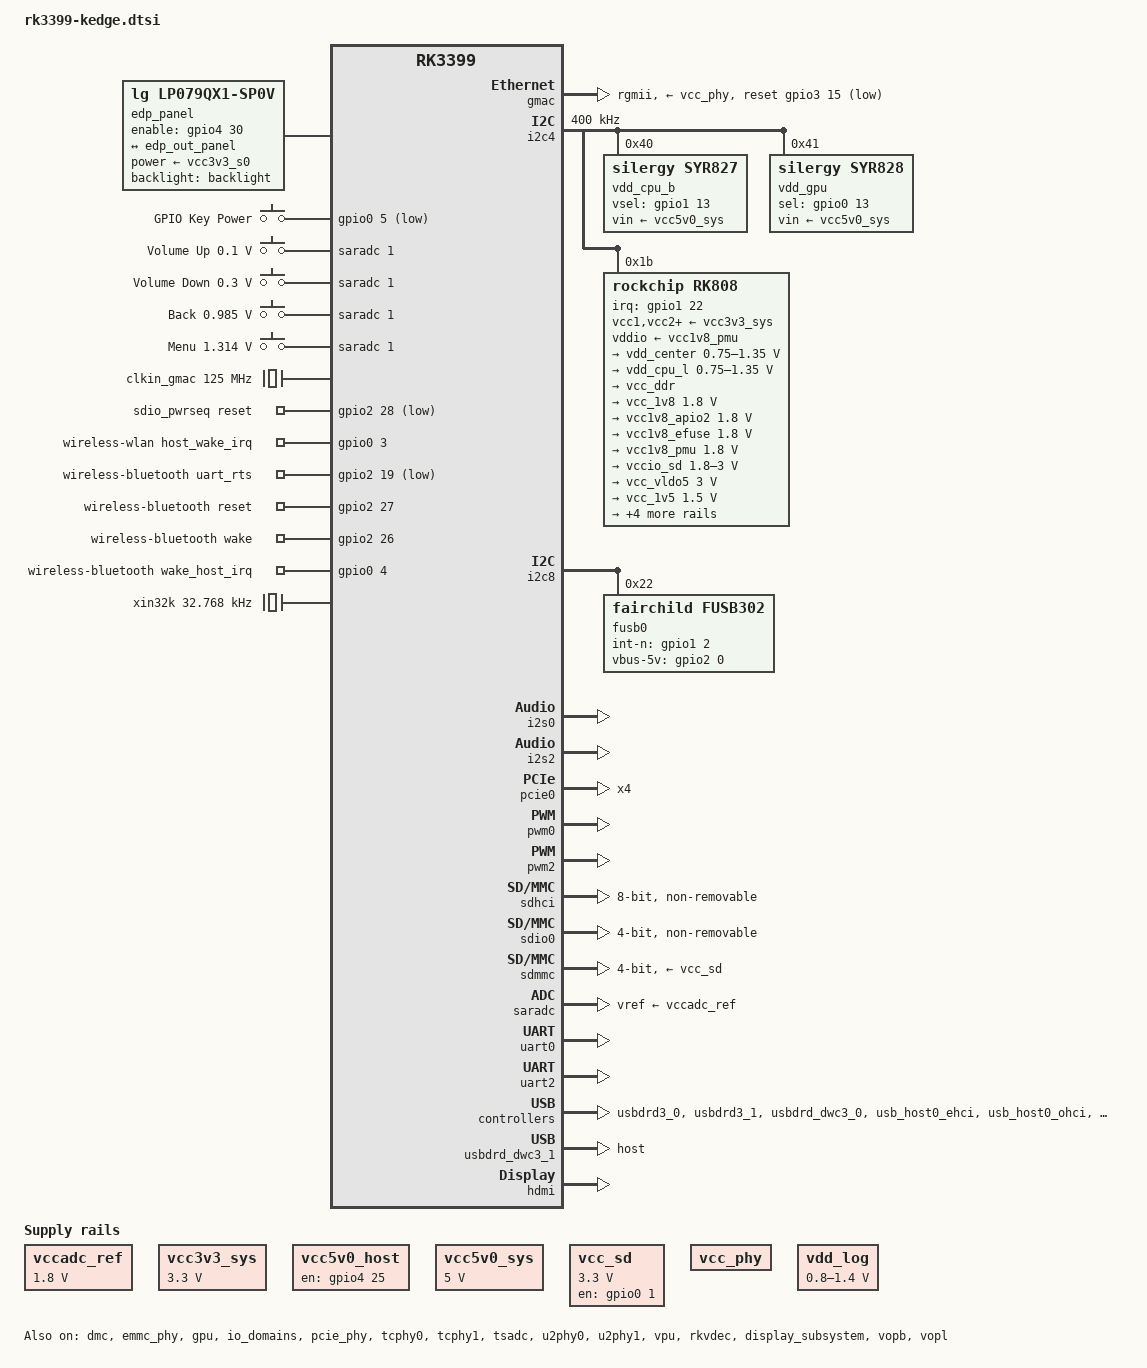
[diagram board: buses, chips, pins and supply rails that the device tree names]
/*
 * Copyright (c) 2018 Wesion Co., Ltd
 *
 * This file is dual-licensed: you can use it either under the terms
 * of the GPL or the X11 license, at your option. Note that this dual
 * licensing only applies to this file, and not this project as a
 * whole.
 *
 *  a) This file is free software; you can redistribute it and/or
 *     modify it under the terms of the GNU General Public License as
 *     published by the Free Software Foundation; either version 2 of the
 *     License, or (at your option) any later version.
 *
 *     This file is distributed in the hope that it will be useful,
 *     but WITHOUT ANY WARRANTY; without even the implied warranty of
 *     MERCHANTABILITY or FITNESS FOR A PARTICULAR PURPOSE.  See the
 *     GNU General Public License for more details.
 *
 * Or, alternatively,
 *
 *  b) Permission is hereby granted, free of charge, to any person
 *     obtaining a copy of this software and associated documentation
 *     files (the "Software"), to deal in the Software without
 *     restriction, including without limitation the rights to use,
 *     copy, modify, merge, publish, distribute, sublicense, and/or
 *     sell copies of the Software, and to permit persons to whom the
 *     Software is furnished to do so, subject to the following
 *     conditions:
 *
 *     The above copyright notice and this permission notice shall be
 *     included in all copies or substantial portions of the Software.
 *
 *     THE SOFTWARE IS PROVIDED "AS IS", WITHOUT WARRANTY OF ANY KIND,
 *     EXPRESS OR IMPLIED, INCLUDING BUT NOT LIMITED TO THE WARRANTIES
 *     OF MERCHANTABILITY, FITNESS FOR A PARTICULAR PURPOSE AND
 *     NONINFRINGEMENT. IN NO EVENT SHALL THE AUTHORS OR COPYRIGHT
 *     HOLDERS BE LIABLE FOR ANY CLAIM, DAMAGES OR OTHER LIABILITY,
 *     WHETHER IN AN ACTION OF CONTRACT, TORT OR OTHERWISE, ARISING
 *     FROM, OUT OF OR IN CONNECTION WITH THE SOFTWARE OR THE USE OR
 *     OTHER DEALINGS IN THE SOFTWARE.
 */

#include <dt-bindings/input/input.h>
#include "dt-bindings/pwm/pwm.h"
#include "rk3399.dtsi"
#include "rk3399-opp.dtsi"
#include "rk3399-linux.dtsi"

/ {
	compatible = "khadas,edge", "rockchip,rk3399";

	/* first 64k(0xff8c0000~0xff8d0000) for ddr and suspend */
	iram: sram@ff8d0000 {
		compatible = "mmio-sram";
		reg = <0x0 0xff8d0000 0x0 0x20000>; /* 128k */
	};

	fiq_debugger: fiq-debugger {
		compatible = "rockchip,fiq-debugger";
		rockchip,serial-id = <2>;
		rockchip,signal-irq = <182>;
		rockchip,wake-irq = <0>;
		rockchip,irq-mode-enable = <1>;  /* If enable uart uses irq instead of fiq */
		rockchip,baudrate = <1500000>;  /* Only 115200 and 1500000 */
		pinctrl-names = "default";
		pinctrl-0 = <&uart2c_xfer>;
	};

	edp_panel: edp-panel {
		compatible = "lg,lp079qx1-sp0v", "panel-simple";
		backlight = <&backlight>;
		power-supply = <&vcc3v3_s0>;
		enable-gpios = <&gpio4 30 GPIO_ACTIVE_HIGH>;
		pinctrl-names = "default";
		pinctrl-0 = <&lcd_panel_reset>;

		ports {
			panel_in_edp: endpoint {
				remote-endpoint = <&edp_out_panel>;
			};
		};
	};

	hdmi_sound: hdmi-sound {
		status = "okay";
	};

	gpio-keys {
		compatible = "gpio-keys";
		#address-cells = <1>;
		#size-cells = <0>;
		autorepeat;

		pinctrl-names = "default";
		pinctrl-0 = <&pwrbtn>;

		button@0 {
			gpios = <&gpio0 5 GPIO_ACTIVE_LOW>;
			linux,code = <KEY_POWER>;
			label = "GPIO Key Power";
			linux,input-type = <1>;
			gpio-key,wakeup = <1>;
			debounce-interval = <100>;
		};
	};

	vccadc_ref: vccadc-ref {
		compatible = "regulator-fixed";
		regulator-name = "vcc1v8_sys";
		regulator-always-on;
		regulator-boot-on;
		regulator-min-microvolt = <1800000>;
		regulator-max-microvolt = <1800000>;
	};

	adc-keys {
		compatible = "adc-keys";
		io-channels = <&saradc 1>;
		io-channel-names = "buttons";
		poll-interval = <100>;
		keyup-threshold-microvolt = <1800000>;

		button-up {
			label = "Volume Up";
			linux,code = <KEY_VOLUMEUP>;
			press-threshold-microvolt = <100000>;
		};

		button-down {
			label = "Volume Down";
			linux,code = <KEY_VOLUMEDOWN>;
			press-threshold-microvolt = <300000>;
		};

		back {
			label = "Back";
			linux,code = <KEY_BACK>;
			press-threshold-microvolt = <985000>;
		};

		menu {
			label = "Menu";
			linux,code = <KEY_MENU>;
			press-threshold-microvolt = <1314000>;
		};
	};

	backlight: backlight {
		status = "disabled";
		compatible = "pwm-backlight";
		pwms = <&pwm0 0 25000 0>;
		brightness-levels = <
			  0   1   2   3   4   5   6   7
			  8   9  10  11  12  13  14  15
			 16  17  18  19  20  21  22  23
			 24  25  26  27  28  29  30  31
			 32  33  34  35  36  37  38  39
			 40  41  42  43  44  45  46  47
			 48  49  50  51  52  53  54  55
			 56  57  58  59  60  61  62  63
			 64  65  66  67  68  69  70  71
			 72  73  74  75  76  77  78  79
			 80  81  82  83  84  85  86  87
			 88  89  90  91  92  93  94  95
			 96  97  98  99 100 101 102 103
			104 105 106 107 108 109 110 111
			112 113 114 115 116 117 118 119
			120 121 122 123 124 125 126 127
			128 129 130 131 132 133 134 135
			136 137 138 139 140 141 142 143
			144 145 146 147 148 149 150 151
			152 153 154 155 156 157 158 159
			160 161 162 163 164 165 166 167
			168 169 170 171 172 173 174 175
			176 177 178 179 180 181 182 183
			184 185 186 187 188 189 190 191
			192 193 194 195 196 197 198 199
			200 201 202 203 204 205 206 207
			208 209 210 211 212 213 214 215
			216 217 218 219 220 221 222 223
			224 225 226 227 228 229 230 231
			232 233 234 235 236 237 238 239
			240 241 242 243 244 245 246 247
			248 249 250 251 252 253 254 255>;
		default-brightness-level = <200>;
	};

	clkin_gmac: external-gmac-clock {
		compatible = "fixed-clock";
		clock-frequency = <125000000>;
		clock-output-names = "clkin_gmac";
		#clock-cells = <0>;
	};

	dw_hdmi_audio: dw-hdmi-audio {
		status = "disabled";
		compatible = "rockchip,dw-hdmi-audio";
		#sound-dai-cells = <0>;
	};

	hdmi_sound: hdmi-sound {
		status = "disabled";
		compatible = "simple-audio-card";
		simple-audio-card,format = "i2s";
		simple-audio-card,mclk-fs = <256>;
		simple-audio-card,name = "rockchip,hdmi";

		simple-audio-card,cpu {
			sound-dai = <&i2s2>;
		};
		simple-audio-card,codec {
			sound-dai = <&hdmi>;
		};
	};

	sdio_pwrseq: sdio-pwrseq {
		compatible = "mmc-pwrseq-simple";
		clocks = <&rk808 1>;
		clock-names = "ext_clock";
		pinctrl-names = "default";
		pinctrl-0 = <&wifi_enable_h>;

		/*
		 * On the module itself this is one of these (depending
		 * on the actual card populated):
		 * - SDIO_RESET_L_WL_REG_ON
		 * - PDN (power down when low)
		 */
		reset-gpios = <&gpio2 28 GPIO_ACTIVE_LOW>; /* GPIO2_D4 */
	};

	wireless-wlan {
		compatible = "wlan-platdata";
		rockchip,grf = <&grf>;
		wifi_chip_type = "ap6354";
		sdio_vref = <1800>;
		WIFI,host_wake_irq = <&gpio0 3 GPIO_ACTIVE_HIGH>; /* GPIO0_a3 */
		status = "okay";
	};

	wireless-bluetooth {
		    compatible = "bluetooth-platdata";
		    //wifi-bt-power-toggle;
		    uart_rts_gpios = <&gpio2 19 GPIO_ACTIVE_LOW>; /* GPIO2_C3 */
		    pinctrl-names = "default", "rts_gpio";
		    pinctrl-0 = <&uart0_rts>;
		    pinctrl-1 = <&uart0_gpios>;
		    //BT,power_gpio  = <&gpio3 19 GPIO_ACTIVE_HIGH>; /* GPIOx_xx */
		    BT,reset_gpio    = <&gpio2 27 GPIO_ACTIVE_HIGH>; /* GPIO2_D3 */
		    BT,wake_gpio     = <&gpio2 26 GPIO_ACTIVE_HIGH>; /* GPIO2_D2 */
		    BT,wake_host_irq = <&gpio0 4 GPIO_ACTIVE_HIGH>; /* GPIO0_A4 */
		    status = "okay";
	};

	vcc3v3_sys: vcc3v3-sys {
		compatible = "regulator-fixed";
		regulator-name = "vcc3v3_sys";
		regulator-always-on;
		regulator-boot-on;
		regulator-min-microvolt = <3300000>;
		regulator-max-microvolt = <3300000>;
	};

	vcc5v0_host: vcc5v0-host-regulator {
		compatible = "regulator-fixed";
		enable-active-high;
		gpio = <&gpio4 25 GPIO_ACTIVE_HIGH>;
		pinctrl-names = "default";
		pinctrl-0 = <&host_vbus_drv>;
		regulator-name = "vcc5v0_host";
		regulator-always-on;
	};

	vcc5v0_sys: vcc5v0-sys {
		compatible = "regulator-fixed";
		regulator-name = "vcc5v0_sys";
		regulator-always-on;
		regulator-boot-on;
		regulator-min-microvolt = <5000000>;
		regulator-max-microvolt = <5000000>;
	};

	vcc_sd: vcc-sd {
		compatible = "regulator-fixed";
		enable-active-high;
		regulator-boot-on;
		regulator-always-on;
		gpio = <&gpio0 1 GPIO_ACTIVE_HIGH>;
		pinctrl-names = "default";
		pinctrl-0 = <&vcc_sd_h>;
		regulator-name = "vcc_sd";
		regulator-min-microvolt = <3300000>;
		regulator-max-microvolt = <3300000>;
	};

	vcc_phy: vcc-phy-regulator {
		compatible = "regulator-fixed";
		regulator-name = "vcc_phy";
		regulator-always-on;
		regulator-boot-on;
	};

	vdd_log: vdd-log {
		compatible = "pwm-regulator";
		pwms = <&pwm2 0 25000 1>;
		regulator-name = "vdd_log";
		regulator-min-microvolt = <800000>;
		regulator-max-microvolt = <1400000>;
		regulator-always-on;
		regulator-boot-on;

		/* for rockchip boot on */
		rockchip,pwm_id= <2>;
		rockchip,pwm_voltage = <1000000>;
	};

	xin32k: xin32k {
		compatible = "fixed-clock";
		clock-frequency = <32768>;
		clock-output-names = "xin32k";
		#clock-cells = <0>;
	};
};

&dmac_bus {
   iram = <&iram>;
};

&dsi {
   status = "disabled";

   panel@0 {
       compatible ="simple-panel-dsi";
       reg = <0>;
       backlight = <&backlight>;
       enable-gpios = <&gpio1 13 GPIO_ACTIVE_HIGH>;

       dsi,flags = <(MIPI_DSI_MODE_VIDEO | MIPI_DSI_MODE_VIDEO_BURST)>;
       dsi,format = <MIPI_DSI_FMT_RGB888>;
       dsi,lanes = <4>;

       display-timings {
           native-mode = <&timing0>;

           timing0: timing0 {
               clock-frequency = <160000000>;
               hactive = <1200>;
               vactive = <1920>;
               hback-porch = <21>;
               hfront-porch = <120>;
               vback-porch = <18>;
               vfront-porch = <21>;
               hsync-len = <20>;
               vsync-len = <3>;
               hsync-active = <0>;
               vsync-active = <0>;
               de-active = <0>;
               pixelclk-active = <0>;
           };
       };

       dsp_lut: dsp-lut {
           gamma-lut = <
           0x00000000 0x00010101 0x00020202 0x00030303 0x00040404 0x00050505 0x00060606 0x00070707
           0x00080808 0x00090909 0x000a0a0a 0x000b0b0b 0x000c0c0c 0x000d0d0d 0x000e0e0e 0x000f0f0f
           0x00101010 0x00111111 0x00121212 0x00131313 0x00141414 0x00151515 0x00161616 0x00171717
           0x00181818 0x00191919 0x001a1a1a 0x001b1b1b 0x001c1c1c 0x001d1d1d 0x001e1e1e 0x001f1f1f
           0x00202020 0x00212121 0x00222222 0x00232323 0x00242424 0x00252525 0x00262626 0x00272727
           0x00282828 0x00292929 0x002a2a2a 0x002b2b2b 0x002c2c2c 0x002d2d2d 0x002e2e2e 0x002f2f2f
           0x00303030 0x00313131 0x00323232 0x00333333 0x00343434 0x00353535 0x00363636 0x00373737
           0x00383838 0x00393939 0x003a3a3a 0x003b3b3b 0x003c3c3c 0x003d3d3d 0x003e3e3e 0x003f3f3f
           0x00404040 0x00414141 0x00424242 0x00434343 0x00444444 0x00454545 0x00464646 0x00474747
           0x00484848 0x00494949 0x004a4a4a 0x004b4b4b 0x004c4c4c 0x004d4d4d 0x004e4e4e 0x004f4f4f
           0x00505050 0x00515151 0x00525252 0x00535353 0x00545454 0x00555555 0x00565656 0x00575757
           0x00585858 0x00595959 0x005a5a5a 0x005b5b5b 0x005c5c5c 0x005d5d5d 0x005e5e5e 0x005f5f5f
           0x00606060 0x00616161 0x00626262 0x00636363 0x00646464 0x00656565 0x00666666 0x00676767
           0x00686868 0x00696969 0x006a6a6a 0x006b6b6b 0x006c6c6c 0x006d6d6d 0x006e6e6e 0x006f6f6f
           0x00707070 0x00717171 0x00727272 0x00737373 0x00747474 0x00757575 0x00767676 0x00777777
           0x00787878 0x00797979 0x007a7a7a 0x007b7b7b 0x007c7c7c 0x007d7d7d 0x007e7e7e 0x007f7f7f
           0x00808080 0x00818181 0x00828282 0x00838383 0x00848484 0x00858585 0x00868686 0x00878787
           0x00888888 0x00898989 0x008a8a8a 0x008b8b8b 0x008c8c8c 0x008d8d8d 0x008e8e8e 0x008f8f8f
           0x00909090 0x00919191 0x00929292 0x00939393 0x00949494 0x00959595 0x00969696 0x00979797
           0x00989898 0x00999999 0x009a9a9a 0x009b9b9b 0x009c9c9c 0x009d9d9d 0x009e9e9e 0x009f9f9f
           0x00a0a0a0 0x00a1a1a1 0x00a2a2a2 0x00a3a3a3 0x00a4a4a4 0x00a5a5a5 0x00a6a6a6 0x00a7a7a7
           0x00a8a8a8 0x00a9a9a9 0x00aaaaaa 0x00ababab 0x00acacac 0x00adadad 0x00aeaeae 0x00afafaf
           0x00b0b0b0 0x00b1b1b1 0x00b2b2b2 0x00b3b3b3 0x00b4b4b4 0x00b5b5b5 0x00b6b6b6 0x00b7b7b7
           0x00b8b8b8 0x00b9b9b9 0x00bababa 0x00bbbbbb 0x00bcbcbc 0x00bdbdbd 0x00bebebe 0x00bfbfbf
           0x00c0c0c0 0x00c1c1c1 0x00c2c2c2 0x00c3c3c3 0x00c4c4c4 0x00c5c5c5 0x00c6c6c6 0x00c7c7c7
           0x00c8c8c8 0x00c9c9c9 0x00cacaca 0x00cbcbcb 0x00cccccc 0x00cdcdcd 0x00cecece 0x00cfcfcf
           0x00d0d0d0 0x00d1d1d1 0x00d2d2d2 0x00d3d3d3 0x00d4d4d4 0x00d5d5d5 0x00d6d6d6 0x00d7d7d7
           0x00d8d8d8 0x00d9d9d9 0x00dadada 0x00dbdbdb 0x00dcdcdc 0x00dddddd 0x00dedede 0x00dfdfdf
           0x00e0e0e0 0x00e1e1e1 0x00e2e2e2 0x00e3e3e3 0x00e4e4e4 0x00e5e5e5 0x00e6e6e6 0x00e7e7e7
           0x00e8e8e8 0x00e9e9e9 0x00eaeaea 0x00ebebeb 0x00ececec 0x00ededed 0x00eeeeee 0x00efefef
           0x00f0f0f0 0x00f1f1f1 0x00f2f2f2 0x00f3f3f3 0x00f4f4f4 0x00f5f5f5 0x00f6f6f6 0x00f7f7f7
           0x00f8f8f8 0x00f9f9f9 0x00fafafa 0x00fbfbfb 0x00fcfcfc 0x00fdfdfd 0x00fefefe 0x00ffffff>;
       };
   };
};

&cdn_dp {
	status = "disabled";
	extcon = <&fusb0>;
	phys = <&tcphy0_dp>;
};

&dmc {
   status = "okay";
   center-supply = <&vdd_center>;
   system-status-freq = <
       /*system status         freq(KHz)*/
       SYS_STATUS_NORMAL       800000
       SYS_STATUS_REBOOT       400000
       SYS_STATUS_SUSPEND      400000
       SYS_STATUS_VIDEO_1080P  400000
       SYS_STATUS_VIDEO_4K     800000
       SYS_STATUS_VIDEO_4K_10B 800000
       SYS_STATUS_PERFORMANCE  800000
       SYS_STATUS_BOOST        400000
       SYS_STATUS_DUALVIEW     800000
       SYS_STATUS_ISP          800000
   >;
   auto-min-freq = <400000>;
   auto-freq-en = <0>;
};

&dmc_opp_table {
   compatible = "operating-points-v2";

   opp-200000000 {
       opp-hz = /bits/ 64 <200000000>;
       opp-microvolt = <825000>;
       status = "disabled";
   };
   opp-300000000 {
       opp-hz = /bits/ 64 <300000000>;
       opp-microvolt = <850000>;
       status = "disabled";
   };
   opp-400000000 {
       opp-hz = /bits/ 64 <400000000>;
       opp-microvolt = <900000>;
   };
   opp-528000000 {
       opp-hz = /bits/ 64 <528000000>;
       opp-microvolt = <900000>;
       status = "disabled";
   };
   opp-600000000 {
       opp-hz = /bits/ 64 <600000000>;
       opp-microvolt = <900000>;
       status = "disabled";
   };
   opp-800000000 {
       opp-hz = /bits/ 64 <800000000>;
       opp-microvolt = <900000>;
   };
   opp-928000000 {
       opp-hz = /bits/ 64 <928000000>;
       opp-microvolt = <900000>;
       status = "disabled";
   };
   opp-1056000000 {
       opp-hz = /bits/ 64 <1056000000>;
       opp-microvolt = <900000>;
       status = "disabled";
   };
};

&cpu_l0 {
	cpu-supply = <&vdd_cpu_l>;
};

&cpu_l1 {
	cpu-supply = <&vdd_cpu_l>;
};

&cpu_l2 {
	cpu-supply = <&vdd_cpu_l>;
};

&cpu_l3 {
	cpu-supply = <&vdd_cpu_l>;
};

&cpu_b0 {
	cpu-supply = <&vdd_cpu_b>;
};

&cpu_b1 {
	cpu-supply = <&vdd_cpu_b>;
};

&emmc_phy {
	status = "okay";
};

&gmac {
	phy-supply = <&vcc_phy>;
	phy-mode = "rgmii";
	clock_in_out = "input";
	snps,reset-gpio = <&gpio3 15 GPIO_ACTIVE_LOW>;
	snps,reset-active-low;
	snps,reset-delays-us = <0 10000 50000>;
	assigned-clocks = <&cru SCLK_RMII_SRC>;
	assigned-clock-parents = <&clkin_gmac>;
	pinctrl-names = "default";
	pinctrl-0 = <&rgmii_pins>;
	tx_delay = <0x28>;
	rx_delay = <0x11>;
	status = "okay";
};

&gpu {
	status = "okay";
	mali-supply = <&vdd_gpu>;
};

&i2c4 {
	status = "okay";
	i2c-scl-rising-time-ns = <168>;
	i2c-scl-falling-time-ns = <4>;
	clock-frequency = <400000>;

	vdd_cpu_b: syr827@40 {
		compatible = "silergy,syr827";
		reg = <0x40>;
		vin-supply = <&vcc5v0_sys>;
		regulator-compatible = "fan53555-reg";
		pinctrl-names = "default";
		pinctrl-0 = <&vsel1_gpio>;
		vsel-gpios = <&gpio1 13 GPIO_ACTIVE_HIGH>; /* GPIO1_B5 */
		regulator-name = "vdd_cpu_b";
		regulator-min-microvolt = <712500>;
		regulator-max-microvolt = <1500000>;
		regulator-ramp-delay = <1000>;
		fcs,suspend-voltage-selector = <1>;
		regulator-always-on;
		regulator-boot-on;
		regulator-initial-state = <3>;
			regulator-state-mem {
			regulator-off-in-suspend;
		};
	};

	vdd_gpu: syr828@41 {
		compatible = "silergy,syr828";
		reg = <0x41>;
		vin-supply = <&vcc5v0_sys>;
		regulator-compatible = "fan53555-reg";
		pinctrl-names = "default";
		pinctrl-0 = <&vsel2_gpio>;
		sel-gpios = <&gpio0 13 GPIO_ACTIVE_HIGH>;/* GPIO0_B5 */
		regulator-name = "vdd_gpu";
		regulator-min-microvolt = <712500>;
		regulator-max-microvolt = <1500000>;
		regulator-ramp-delay = <1000>;
		fcs,suspend-voltage-selector = <1>;
		regulator-always-on;
		regulator-boot-on;
		regulator-initial-state = <3>;
			regulator-state-mem {
			regulator-off-in-suspend;
		};
	};

	rk808: pmic@1b {
		compatible = "rockchip,rk808";
		reg = <0x1b>;
		interrupt-parent = <&gpio1>;
		interrupts = <22 IRQ_TYPE_LEVEL_LOW>;
		pinctrl-names = "default";
		pinctrl-0 = <&pmic_int_l &pmic_dvs2>;
		rockchip,system-power-controller;
		wakeup-source;
		#clock-cells = <1>;
		clock-output-names = "rk808-clkout1", "rk808-clkout2";

		vcc1-supply = <&vcc3v3_sys>;
		vcc2-supply = <&vcc3v3_sys>;
		vcc3-supply = <&vcc3v3_sys>;
		vcc4-supply = <&vcc3v3_sys>;
		vcc6-supply = <&vcc3v3_sys>;
		vcc7-supply = <&vcc3v3_sys>;
		vcc8-supply = <&vcc3v3_sys>;
		vcc9-supply = <&vcc3v3_sys>;
		vcc10-supply = <&vcc3v3_sys>;
		vcc11-supply = <&vcc3v3_sys>;
		vcc12-supply = <&vcc3v3_sys>;
		vddio-supply = <&vcc1v8_pmu>;

		regulators {
			vdd_center: DCDC_REG1 {
				regulator-always-on;
				regulator-boot-on;
				regulator-min-microvolt = <750000>;
				regulator-max-microvolt = <1350000>;
				regulator-ramp-delay = <6001>;
				regulator-name = "vdd_center";
				regulator-state-mem {
					regulator-off-in-suspend;
				};
			};

			vdd_cpu_l: DCDC_REG2 {
				regulator-always-on;
				regulator-boot-on;
				regulator-min-microvolt = <750000>;
				regulator-max-microvolt = <1350000>;
				regulator-ramp-delay = <6001>;
				regulator-name = "vdd_cpu_l";
				regulator-state-mem {
					regulator-off-in-suspend;
				};
			};

			vcc_ddr: DCDC_REG3 {
				regulator-always-on;
				regulator-boot-on;
				regulator-name = "vcc_ddr";
				regulator-state-mem {
					regulator-on-in-suspend;
				};
			};

			vcc_1v8: DCDC_REG4 {
				regulator-always-on;
				regulator-boot-on;
				regulator-min-microvolt = <1800000>;
				regulator-max-microvolt = <1800000>;
				regulator-name = "vcc_1v8";
				regulator-state-mem {
					regulator-on-in-suspend;
					regulator-suspend-microvolt = <1800000>;
				};
			};

			vcc1v8_apio2: LDO_REG1 {
				regulator-always-on;
				regulator-boot-on;
				regulator-min-microvolt = <1800000>;
				regulator-max-microvolt = <1800000>;
				regulator-name = "vcc1v8_apio2";
				regulator-state-mem {
					regulator-off-in-suspend;
				};
			};

			vcc1v8_efuse: LDO_REG2 {
				regulator-always-on;
				regulator-boot-on;
				regulator-min-microvolt = <1800000>;
				regulator-max-microvolt = <1800000>;
				regulator-name = "vcc1v8_efuse";
				regulator-state-mem {
					regulator-off-in-suspend;
				};
			};

			vcc1v8_pmu: LDO_REG3 {
				regulator-always-on;
				regulator-boot-on;
				regulator-min-microvolt = <1800000>;
				regulator-max-microvolt = <1800000>;
				regulator-name = "vcc1v8_pmu";
				regulator-state-mem {
					regulator-on-in-suspend;
					regulator-suspend-microvolt = <1800000>;
				};
			};

			vccio_sd: LDO_REG4 {
				regulator-always-on;
				regulator-boot-on;
				regulator-min-microvolt = <1800000>;
				regulator-max-microvolt = <3000000>;
				regulator-name = "vccio_sd";
				regulator-state-mem {
					regulator-on-in-suspend;
					regulator-suspend-microvolt = <3000000>;
				};
			};

			vcc_vldo5: LDO_REG5 {
				regulator-always-on;
				regulator-boot-on;
				regulator-min-microvolt = <3000000>;
				regulator-max-microvolt = <3000000>;
				regulator-name = "vcc_vldo5";
				regulator-state-mem {
					regulator-off-in-suspend;
				};
			};

			vcc_1v5: LDO_REG6 {
				regulator-always-on;
				regulator-boot-on;
				regulator-min-microvolt = <1500000>;
				regulator-max-microvolt = <1500000>;
				regulator-name = "vcc_1v5";
				regulator-state-mem {
					regulator-on-in-suspend;
					regulator-suspend-microvolt = <1500000>;
				};
			};

			vcca1v8_codec: LDO_REG7 {
				regulator-always-on;
				regulator-boot-on;
				regulator-min-microvolt = <1800000>;
				regulator-max-microvolt = <1800000>;
				regulator-name = "vcca1v8_codec";
				regulator-state-mem {
					regulator-off-in-suspend;
				};
			};

			vcc_3v0: LDO_REG8 {
				regulator-always-on;
				regulator-boot-on;
				regulator-min-microvolt = <3000000>;
				regulator-max-microvolt = <3000000>;
				regulator-name = "vcc_3v0";
				regulator-state-mem {
					regulator-on-in-suspend;
					regulator-suspend-microvolt = <3000000>;
				};
			};

			vcc3v3_s3: SWITCH_REG1 {
				regulator-always-on;
				regulator-boot-on;
				regulator-name = "vcc3v3_s3";
				regulator-state-mem {
					regulator-off-in-suspend;
				};
			};

			vcc3v3_s0: SWITCH_REG2 {
				regulator-always-on;
				regulator-boot-on;
				regulator-name = "vcc3v3_s0";
				regulator-state-mem {
					regulator-off-in-suspend;
				};
			};
		};
	};
};

&i2c8 {
	status = "okay";
	i2c-scl-rising-time-ns = <475>;
	i2c-scl-falling-time-ns = <26>;

	fusb0: fusb30x@22 {
		compatible = "fairchild,fusb302";
		reg = <0x22>;
		pinctrl-names = "default";
		pinctrl-0 = <&fusb0_int>;
		int-n-gpios = <&gpio1 2 GPIO_ACTIVE_HIGH>;
		vbus-5v-gpios = <&gpio2 0 GPIO_ACTIVE_HIGH>;
		status = "okay";
	};
};

&i2s0 {
	status = "okay";
	rockchip,i2s-broken-burst-len;
	rockchip,playback-channels = <8>;
	rockchip,capture-channels = <8>;
	#sound-dai-cells = <0>;
};

&i2s2 {
	#sound-dai-cells = <0>;
	status = "okay";
};

&io_domains {
	status = "okay";

	bt656-supply = <&vcc_3v0>;		/* bt656_gpio2ab_ms */
	audio-supply = <&vcca1v8_codec>;	/* audio_gpio3d4a_ms */
	sdmmc-supply = <&vccio_sd>;		/* sdmmc_gpio4b_ms */
	gpio1830-supply = <&vcc_3v0>;		/* gpio1833_gpio4cd_ms */
};

&pcie_phy {
	status = "okay";
};

&pcie0 {
	ep-gpios = <&gpio2 RK_PA4 GPIO_ACTIVE_HIGH>;
	num-lanes = <4>;
	pinctrl-names = "default";
	pinctrl-0 = <&pcie_clkreqn>;
	status = "okay";
};

&pmu_io_domains {
	status = "okay";
	pmu1830-supply = <&vcc_3v0>;
};

&pwm0 {
	status = "okay";
};

&pwm2 {
	status = "okay";
	pinctrl-names = "active";
	pinctrl-0 = <&pwm2_pin_pull_down>;
};

&sdhci {
	bus-width = <8>;
	mmc-hs400-1_8v;
	supports-emmc;
	non-removable;
	keep-power-in-suspend;
	mmc-hs400-enhanced-strobe;
	status = "okay";
};

&sdio0 {
	clock-frequency = <50000000>;
	clock-freq-min-max = <200000 50000000>;
	supports-sdio;
	bus-width = <4>;
	disable-wp;
	cap-sd-highspeed;
	cap-sdio-irq;
	keep-power-in-suspend;
	mmc-pwrseq = <&sdio_pwrseq>;
	non-removable;
	num-slots = <1>;
	pinctrl-names = "default";
	pinctrl-0 = <&sdio0_bus4 &sdio0_cmd &sdio0_clk>;
	sd-uhs-sdr104;
	status = "okay";
};

&sdmmc {
	clock-frequency = <150000000>;
	clock-freq-min-max = <100000 150000000>;
	supports-sd;
	bus-width = <4>;
	cap-mmc-highspeed;
	cap-sd-highspeed;
	disable-wp;
	num-slots = <1>;
	//sd-uhs-sdr104;
	vmmc-supply = <&vcc_sd>;
	vqmmc-supply = <&vccio_sd>;
	pinctrl-names = "default";
	pinctrl-0 = <&sdmmc_clk &sdmmc_cmd &sdmmc_cd &sdmmc_bus4>;
	status = "okay";
};

&saradc {
	status = "okay";
};

&tcphy0 {
	extcon = <&fusb0>;
	status = "okay";
};

&tcphy1 {
	status = "okay";
};

&tsadc {
	/* tshut mode 0:CRU 1:GPIO */
	rockchip,hw-tshut-mode = <1>;
	/* tshut polarity 0:LOW 1:HIGH */
	rockchip,hw-tshut-polarity = <1>;
	status = "okay";
};

&u2phy0 {
	status = "okay";
	extcon = <&fusb0>;

	u2phy0_otg: otg-port {
		status = "okay";
	};

	u2phy0_host: host-port {
		phy-supply = <&vcc5v0_host>;
		status = "okay";
	};
};

&u2phy1 {
	status = "okay";

	u2phy1_otg: otg-port {
		status = "okay";
	};

	u2phy1_host: host-port {
		phy-supply = <&vcc5v0_host>;
		status = "okay";
	};
};

&uart0 {
    pinctrl-names = "default";
    pinctrl-0 = <&uart0_xfer &uart0_cts>;
    status = "okay";
};

&uart2 {
	status = "okay";
};

&usbdrd3_0 {
	status = "okay";
	extcon = <&fusb0>;
};

&usbdrd3_1 {
	status = "okay";
};

&usbdrd_dwc3_0 {
	status = "okay";
};

&usbdrd_dwc3_1 {
	status = "okay";
	dr_mode = "host";
};

&usb_host0_ehci {
	status = "okay";
};

&usb_host0_ohci {
	status = "okay";
};

&usb_host1_ehci {
	status = "okay";
};

&usb_host1_ohci {
	status = "okay";
};

&isp0_mmu {
	status = "okay";
};


&isp1_mmu {
	status = "okay";
};

&saradc {
	vref-supply = <&vccadc_ref>;
};

&vpu {
	status = "okay";
	/* 0 means ion, 1 means drm */
	//allocator = <0>;
};

&rkvdec {
	status = "okay";
	/* 0 means ion, 1 means drm */
	//allocator = <0>;
};

&backlight {
	status = "disabled";
	enable-gpios = <&gpio1 13 GPIO_ACTIVE_HIGH>;
};

&display_subsystem {
	status = "okay";
};

&route_edp {
	status = "disabled";
};

&edp {
	status = "disabled";

	ports {
		edp_out: port@1 {
			reg = <1>;
			#address-cells = <1>;
			#size-cells = <0>;

			edp_out_panel: endpoint@0 {
				reg = <0>;
				remote-endpoint = <&panel_in_edp>;
			};
		};
	};
};

&hdmi {
	/* remove the hdmi_cec, reused by edp_hpd */
	pinctrl-0 = <&hdmi_i2c_xfer>;
	#address-cells = <1>;
	#size-cells = <0>;
	#sound-dai-cells = <0>;
	status = "okay";
};

&vopb {
	status = "okay";
};

&vopb_mmu {
	status = "okay";
};

&vopl {
	status = "okay";
};

&vopl_mmu {
	status = "okay";
};

&pinctrl {
	pmic {
		pmic_int_l: pmic-int-l {
			rockchip,pins =
				<1 22 RK_FUNC_GPIO &pcfg_pull_up>;
		};

		pmic_dvs2: pmic-dvs2 {
			rockchip,pins =
				<1 18 RK_FUNC_GPIO &pcfg_pull_down>;
		};
		vsel1_gpio: vsel1-gpio {
			rockchip,pins =
				<1 13 RK_FUNC_GPIO &pcfg_pull_down>;
		};
		vsel2_gpio: vsel2-gpio {
			rockchip,pins =
				 <0 13 RK_FUNC_GPIO &pcfg_pull_down>;
		};
	};

	usb2 {
		host_vbus_drv: host-vbus-drv {
			rockchip,pins =
				<4 25 RK_FUNC_GPIO &pcfg_pull_none>;
		};
	};

	vcc_sd {
		vcc_sd_h: vcc-sd-h {
			rockchip,pins =
				<0 1 RK_FUNC_GPIO &pcfg_pull_up>;
		};
	};

	fusb30x {
		fusb0_int: fusb0-int {
			rockchip,pins = <1 2 RK_FUNC_GPIO &pcfg_pull_up>;
		};
	};

	buttons {
		pwrbtn: pwrbtn {
			rockchip,pins = <0 5 RK_FUNC_GPIO &pcfg_pull_up>;
		};
	};

	lcd-panel {
		lcd_panel_reset: lcd-panel-reset {
			rockchip,pins = <4 30 RK_FUNC_GPIO &pcfg_pull_up>;
		};
	};

	sdio-pwrseq {
		wifi_enable_h: wifi-enable-h {
			rockchip,pins =
				<2 28 RK_FUNC_GPIO &pcfg_pull_none>; /* GPIO2_D4 */
		};
	};

	wireless-bluetooth {
		uart0_gpios: uart0-gpios {
			rockchip,pins =
				<2 27 RK_FUNC_GPIO &pcfg_pull_none>; /* GPIO2_D3 */
		};
	};
};
